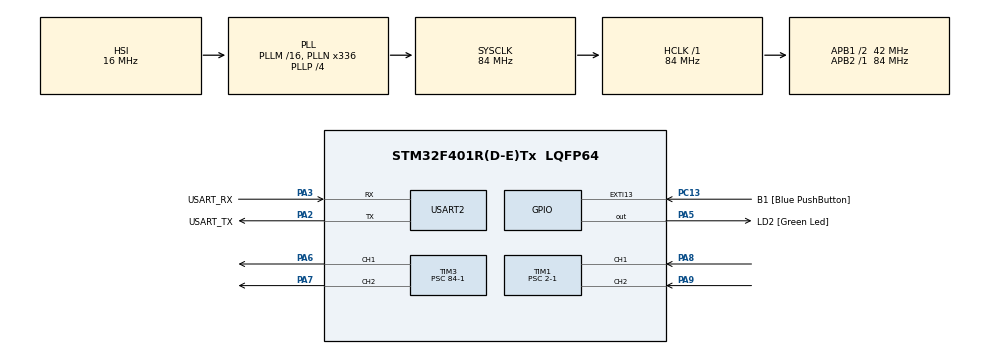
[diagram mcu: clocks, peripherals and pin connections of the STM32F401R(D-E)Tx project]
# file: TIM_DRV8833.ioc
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Mcu.Family=STM32F4
Mcu.Name=STM32F401R(D-E)Tx
Mcu.Package=LQFP64
NVIC.PriorityGroup=NVIC_PRIORITYGROUP_4
PA13.GPIO_Label=TMS
PA13.Mode=Trace_Asynchronous_SW
PA13.Signal=SYS_JTMS-SWDIO
PA14.GPIO_Label=TCK
PA14.Mode=Trace_Asynchronous_SW
PA14.Signal=SYS_JTCK-SWCLK
PA2.GPIO_Label=USART_TX
PA2.GPIO_Mode=GPIO_MODE_AF_PP
PA2.GPIO_PuPd=GPIO_NOPULL
PA2.GPIO_Speed=GPIO_SPEED_FREQ_LOW
PA2.Mode=Asynchronous
PA2.Signal=USART2_TX
PA3.GPIO_Label=USART_RX
PA3.GPIO_Mode=GPIO_MODE_AF_PP
PA3.GPIO_PuPd=GPIO_NOPULL
PA3.GPIO_Speed=GPIO_SPEED_FREQ_LOW
PA3.Mode=Asynchronous
PA3.Signal=USART2_RX
PA5.GPIO_Label=LD2 [Green Led]
PA5.GPIO_Mode=GPIO_MODE_OUTPUT_PP
PA5.GPIO_PuPd=GPIO_NOPULL
PA5.GPIO_Speed=GPIO_SPEED_FREQ_LOW
PA5.Signal=GPIO_Output
PA6.Signal=S_TIM3_CH1
PA7.Signal=S_TIM3_CH2
PA8.Signal=S_TIM1_CH1
PA9.Signal=S_TIM1_CH2
PB3.GPIO_Label=SWO
PB3.Mode=Trace_Asynchronous_SW
PB3.Signal=SYS_JTDO-SWO
PC13-ANTI_TAMP.GPIO_Label=B1 [Blue PushButton]
PC13-ANTI_TAMP.GPIO_ModeDefaultEXTI=GPIO_MODE_IT_FALLING
PC13-ANTI_TAMP.GPIO_PuPd=GPIO_NOPULL
PC13-ANTI_TAMP.Signal=GPXTI13
PC14-OSC32_IN.Mode=LSE-External-Oscillator
PC14-OSC32_IN.Signal=RCC_OSC32_IN
PC15-OSC32_OUT.Mode=LSE-External-Oscillator
PC15-OSC32_OUT.Signal=RCC_OSC32_OUT
PH0\ -\ OSC_IN.Mode=HSE-External-Clock-Source
PH0\ -\ OSC_IN.Signal=RCC_OSC_IN
PH1\ -\ OSC_OUT.Mode=HSE-External-Clock-Source
PH1\ -\ OSC_OUT.Signal=RCC_OSC_OUT
ProjectManager.HeapSize=0x200
ProjectManager.StackSize=0x400
ProjectManager.TargetToolchain=STM32CubeIDE
RCC.48MHZClocksFreq_Value=48000000
RCC.AHBFreq_Value=84000000
RCC.APB1CLKDivider=RCC_HCLK_DIV2
RCC.APB1Freq_Value=42000000
RCC.APB1TimFreq_Value=84000000
RCC.APB2Freq_Value=84000000
RCC.APB2TimFreq_Value=84000000
RCC.CortexFreq_Value=84000000
RCC.HCLKFreq_Value=84000000
RCC.HSE_VALUE=8000000
RCC.HSI_VALUE=16000000
RCC.PLLN=336
RCC.PLLP=RCC_PLLP_DIV4
RCC.PLLQ=7
RCC.SYSCLKFreq_VALUE=84000000
RCC.SYSCLKSource=RCC_SYSCLKSOURCE_PLLCLK
RCC.VCOOutputFreq_Value=336000000
SH.S_TIM1_CH1.0=TIM1_CH1,Encoder_Interface
SH.S_TIM1_CH2.0=TIM1_CH2,Encoder_Interface
SH.S_TIM3_CH1.0=TIM3_CH1,PWM Generation1 CH1
SH.S_TIM3_CH2.0=TIM3_CH2,PWM Generation2 CH2
TIM1.IC1Filter=15
TIM1.IC2Filter=15
TIM1.IC2Polarity=TIM_ICPOLARITY_FALLING
TIM1.Prescaler=2-1
TIM3.Channel-PWM\ Generation1\ CH1=TIM_CHANNEL_1
TIM3.Channel-PWM\ Generation2\ CH2=TIM_CHANNEL_2
TIM3.Period=100-1
TIM3.Prescaler=84-1
USART2.VirtualMode=VM_ASYNC
VP_TIM3_VS_ClockSourceINT.Mode=Internal
board=NUCLEO-F401RE

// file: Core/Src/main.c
/* USER CODE BEGIN Header */
/**
  ******************************************************************************
  * @file           : main.c
  * @brief          : Main program body
  ******************************************************************************
  * @attention
  *
  * Copyright (c) 2025 STMicroelectronics.
  * All rights reserved.
  *
  * This software is licensed under terms that can be found in the LICENSE file
  * in the root directory of this software component.
  * If no LICENSE file comes with this software, it is provided AS-IS.
  *
  ******************************************************************************
  */
/* USER CODE END Header */
#include "main.h"
#include "tim.h"
#include "usart.h"
#include "gpio.h"

/* USER CODE BEGIN Includes */
#include <stdio.h>
#include <string.h>
#include "drv8833.h"
/* USER CODE END Includes */

/* USER CODE BEGIN PD */
#define COUNT_MID 20
/* USER CODE END PD */

void SystemClock_Config(void);

int main(void)
{

  /* USER CODE BEGIN 1 */
  int count = 0;
  int speed_data = 0;
  int speed_rate = 0;
  char message[40] = "";
  /* USER CODE END 1 */

  /* MCU Configuration--------------------------------------------------------*/

  /* Reset of all peripherals, Initializes the Flash interface and the Systick. */
  HAL_Init();

  /* Configure the system clock */
  SystemClock_Config();

  /* Initialize all configured peripherals */
  MX_GPIO_Init();
  MX_USART2_UART_Init();
  MX_TIM1_Init();
  MX_TIM3_Init();
  /* USER CODE BEGIN 2 */

  HAL_TIM_Encoder_Start(&htim1, TIM_CHANNEL_ALL);
  DRV8833_Init();

  __HAL_TIM_SET_COUNTER(&htim1, COUNT_MID);
  /* USER CODE END 2 */

  /* Infinite loop */
  /* USER CODE BEGIN WHILE */
  while (1)
  {
	  count = __HAL_TIM_GET_COUNTER(&htim1);
	  if (count > 60000){
		  count = 0;
		  __HAL_TIM_SET_COUNTER(&htim1, 0);
	  } else if (count > COUNT_MID*2){
		  count = COUNT_MID*2;
		  __HAL_TIM_SET_COUNTER(&htim1, COUNT_MID*2);
	  }

	  speed_data = (COUNT_MID - count) * 100 / COUNT_MID;
	  sprintf(message, "count: %d, speed: %d", count, speed_data);
	  HAL_UART_Transmit(&huart2, (uint8_t*) message, strlen(message), HAL_MAX_DELAY);

	  if (count < COUNT_MID){
		  speed_rate = (COUNT_MID - count) * 100 / COUNT_MID;
		  DRV8833_Backward(speed_rate);
	  } else{
		  speed_rate = (count - COUNT_MID) * 100 / COUNT_MID;
		  DRV8833_Forward(speed_rate);
	  }

	  HAL_Delay(100);

    /* USER CODE END WHILE */

  }
}

void SystemClock_Config(void)
{
  RCC_OscInitTypeDef RCC_OscInitStruct = {0};
  RCC_ClkInitTypeDef RCC_ClkInitStruct = {0};

  /** Configure the main internal regulator output voltage
  */
  __HAL_RCC_PWR_CLK_ENABLE();
  __HAL_PWR_VOLTAGESCALING_CONFIG(PWR_REGULATOR_VOLTAGE_SCALE2);

  /** Initializes the RCC Oscillators according to the specified parameters
  * in the RCC_OscInitTypeDef structure.
  */
  RCC_OscInitStruct.OscillatorType = RCC_OSCILLATORTYPE_HSI;
  RCC_OscInitStruct.HSIState = RCC_HSI_ON;
  RCC_OscInitStruct.HSICalibrationValue = RCC_HSICALIBRATION_DEFAULT;
  RCC_OscInitStruct.PLL.PLLState = RCC_PLL_ON;
  RCC_OscInitStruct.PLL.PLLSource = RCC_PLLSOURCE_HSI;
  RCC_OscInitStruct.PLL.PLLM = 16;
  RCC_OscInitStruct.PLL.PLLN = 336;
  RCC_OscInitStruct.PLL.PLLP = RCC_PLLP_DIV4;
  RCC_OscInitStruct.PLL.PLLQ = 7;
  if (HAL_RCC_OscConfig(&RCC_OscInitStruct) != HAL_OK)
  {
    Error_Handler();
  }

  /** Initializes the CPU, AHB and APB buses clocks
  */
  RCC_ClkInitStruct.ClockType = RCC_CLOCKTYPE_HCLK|RCC_CLOCKTYPE_SYSCLK
                              |RCC_CLOCKTYPE_PCLK1|RCC_CLOCKTYPE_PCLK2;
  RCC_ClkInitStruct.SYSCLKSource = RCC_SYSCLKSOURCE_PLLCLK;
  RCC_ClkInitStruct.AHBCLKDivider = RCC_SYSCLK_DIV1;
  RCC_ClkInitStruct.APB1CLKDivider = RCC_HCLK_DIV2;
  RCC_ClkInitStruct.APB2CLKDivider = RCC_HCLK_DIV1;

  if (HAL_RCC_ClockConfig(&RCC_ClkInitStruct, FLASH_LATENCY_2) != HAL_OK)
  {
    Error_Handler();
  }
}

void Error_Handler(void)
{
  __disable_irq();
  while (1)
  {
  }
}
